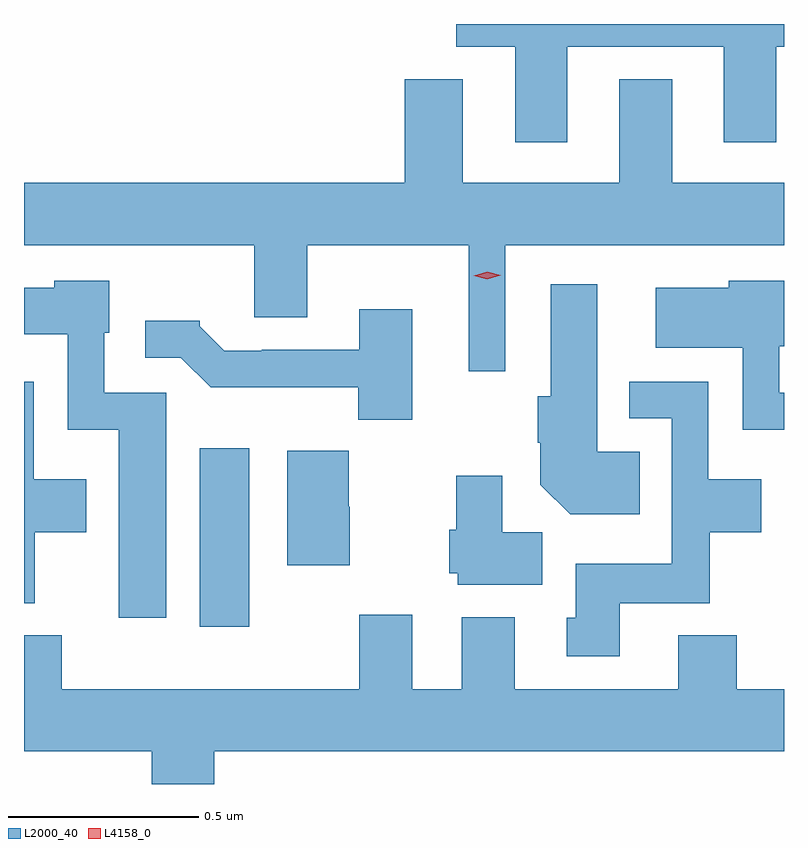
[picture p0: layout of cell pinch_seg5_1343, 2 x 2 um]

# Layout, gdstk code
import gdstk
lib = gdstk.Library(unit=1e-6, precision=1e-09)
def R(c, l, rs):  # rectangles x0, y0, x1, y1
    for r in rs: c.add(gdstk.rectangle(r[:2], r[2:], *l))
def P(c, l, *ps):  # polygons
    for p in ps: c.add(gdstk.Polygon(p, *l))
L2000_40 = (2000, 40)
L4158_0 = (4158, 0)

pinch_seg5_1343 = lib.new_cell('pinch_seg5_1343')
R(pinch_seg5_1343, L2000_40, [(394.235,857.088,394.366,857.557)])
P(pinch_seg5_1343, L2000_40, [(395.203,858.614),(395.615,858.614),(395.615,858.363),(395.752,858.363),(395.752,858.614),(395.773,858.614),(395.773,858.674),(394.91,858.674),(394.91,858.614),(395.066,858.614),(395.066,858.363),(395.203,858.363)],
  [(395.04,858.092),(395.773,858.092),(395.773,858.256),(395.479,858.256),(395.479,858.529),(395.339,858.529),(395.339,858.256),(394.927,858.256),(394.927,858.529),(394.775,858.529),(394.775,858.256),(393.773,858.256),(393.773,858.092),(394.379,858.092),(394.379,857.902),(394.519,857.902),(394.519,858.092),(394.943,858.092),(394.943,857.76),(395.04,857.76)],
  [(395.773,857.703),(395.76,857.703),(395.76,857.826),(395.773,857.826),(395.773,857.998),(395.628,857.998),(395.628,857.98),(395.436,857.98),(395.436,857.822),(395.664,857.822),(395.664,857.606),(395.773,857.606)],
  [(394.147,857.703),(393.984,857.703),(393.984,857.862),(393.997,857.862),(393.997,857.998),(393.852,857.998),(393.852,857.98),(393.773,857.98),(393.773,857.858),(393.888,857.858),(393.888,857.606),(394.022,857.606),(394.022,857.112),(394.147,857.112)],
  [(395.393,857.548),(395.281,857.548),(395.281,857.989),(395.159,857.989),(395.159,857.694),(395.125,857.694),(395.125,857.572),(395.132,857.572),(395.132,857.462),(395.21,857.384),(395.393,857.384)],
  [(394.795,857.923),(394.655,857.923),(394.655,857.817),(394.399,857.817),(394.399,857.814),(394.3,857.814),(394.236,857.878),(394.236,857.893),(394.092,857.893),(394.092,857.796),(394.185,857.796),(394.264,857.718),(394.653,857.718),(394.653,857.633),(394.795,857.633)],
  [(395.341,857.15),(395.577,857.15),(395.577,857.336),(395.713,857.336),(395.713,857.476),(395.574,857.476),(395.574,857.733),(395.366,857.733),(395.366,857.637),(395.478,857.637),(395.478,857.254),(395.225,857.254),(395.225,857.112),(395.201,857.112),(395.201,857.01),(395.341,857.01)],
  [(393.801,857.336),(393.937,857.336),(393.937,857.476),(393.798,857.476),(393.798,857.733),(393.773,857.733),(393.773,857.15),(393.801,857.15)],
  [(394.63,857.403),(394.628,857.403),(394.628,857.551),(394.466,857.551),(394.466,857.25),(394.63,857.25)],
  [(395.137,857.336),(395.032,857.336),(395.032,857.485),(394.91,857.485),(394.91,857.343),(394.892,857.343),(394.892,857.229),(394.914,857.229),(394.914,857.198),(395.137,857.198)],
  [(394.274,856.76),(395.773,856.76),(395.773,856.924),(395.648,856.924),(395.648,857.065),(395.495,857.065),(395.495,856.924),(395.065,856.924),(395.065,857.113),(394.925,857.113),(394.925,856.924),(394.795,856.924),(394.795,857.119),(394.655,857.119),(394.655,856.924),(393.872,856.924),(393.872,857.065),(393.773,857.065),(393.773,856.76),(394.109,856.76),(394.109,856.674),(394.274,856.674)])
P(pinch_seg5_1343, L4158_0, [(394.992,858.002),(394.957,858.011),(394.957,858.012),(394.957,858.012),(394.992,858.022),(395.027,858.013),(395.027,858.013),(395.027,858.013)])

lib.write_gds('pinch_seg5_1343.gds')
